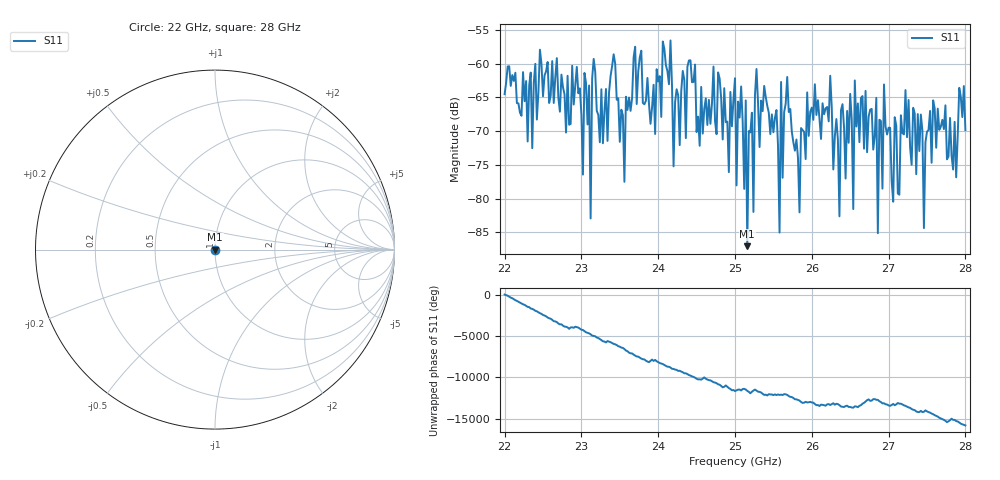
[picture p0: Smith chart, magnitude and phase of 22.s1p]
#  HZ  S  RI  R  50.00
! Rohde & Schwarz ZVA40 4Ports - Version 3.90 - 1145.1110k42 SN: 100403
! Date: 2023-10-04 09:32:50
! Measurement: S12
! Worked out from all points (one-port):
!   301 points, 22 GHz to 28 GHz, reference 50 ohm
!   lowest |S11| = -87.1 dB at 25.16 GHz (marker M1), VSWR 1.00, Z = 50 - j0.00416 ohm
!   |S11| at or under -10 dB: start of sweep to end of sweep
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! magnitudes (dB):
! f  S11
! 22 GHz  -64.5
! 22.76 GHz  -63.5
! 23.1 GHz  -63.2
! 23.12 GHz  -82.9
! 23.16 GHz  -59.3
! 23.5 GHz  -71.6
! 24.26 GHz  -64.7
! 24.92 GHz  -76.1
! 25 GHz  -62.2
! 25.02 GHz  -78.0
! 25.08 GHz  -63.4
! 25.16 GHz  -87.1
! 25.22 GHz  -67.3
! 25.24 GHz  -82.0
! 25.28 GHz  -60.8
! 25.76 GHz  -71.7
! 26.24 GHz  -61.8
! 26.36 GHz  -82.6
! 26.5 GHz  -64.5
! 26.54 GHz  -81.6
! 26.56 GHz  -62.5
! 26.84 GHz  -65.1
! 26.86 GHz  -85.1
! 26.94 GHz  -63.1
! 27.06 GHz  -80.5
! 27.26 GHz  -65.4
! 27.46 GHz  -84.4
! 28 GHz  -69.9
